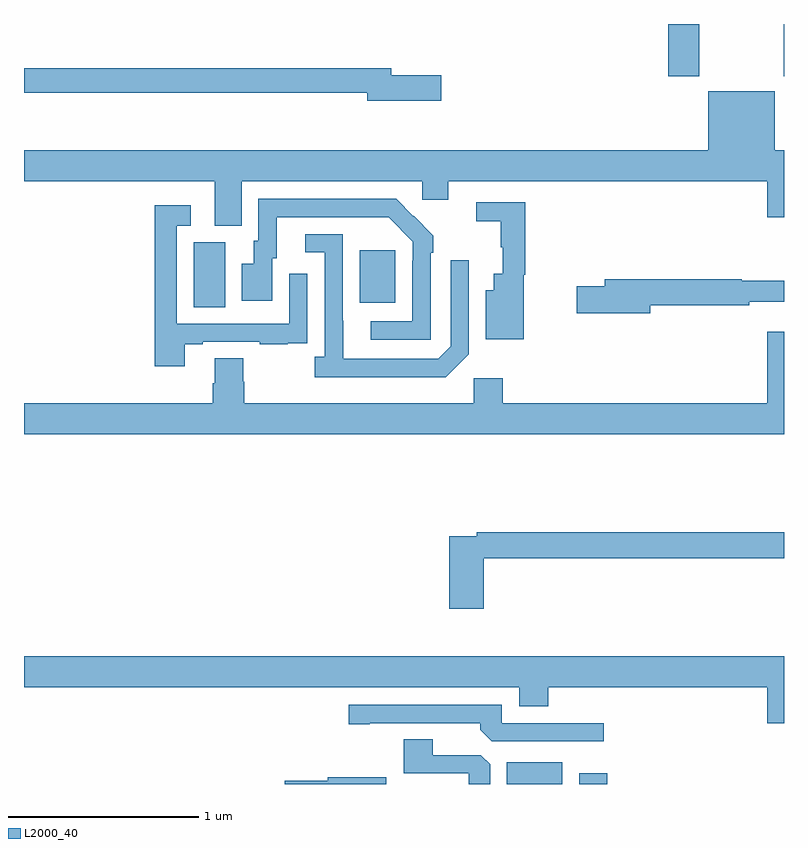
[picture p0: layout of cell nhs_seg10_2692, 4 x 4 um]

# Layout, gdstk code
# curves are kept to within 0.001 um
import gdstk
lib = gdstk.Library(unit=1e-6, precision=1e-09)
def R(c, l, rs):  # rectangles x0, y0, x1, y1
    for r in rs: c.add(gdstk.rectangle(r[:2], r[2:], *l))
def P(c, l, *ps):  # polygons
    for p in ps: c.add(gdstk.Polygon(p, *l))
L2000_40 = (2000, 40)

nhs_seg10_2692 = lib.new_cell('nhs_seg10_2692')
R(nhs_seg10_2692, L2000_40, [(259.541,1274.5,259.834,1274.614), (259.922,1274.5,260.069,1274.557), (257.894,1277.008,258.058,1277.352), (258.767,1277.033,258.955,1277.308), (260.392,1278.225,260.553,1278.5), (260.998,1278.225,261,1278.5)])
P(nhs_seg10_2692, L2000_40, [(259.195,1278.23),(258.934,1278.23),(258.934,1278.266),(257,1278.266),(257,1278.138),(258.806,1278.138),(258.806,1278.095),(259.195,1278.095)],
  [(258.145,1277.672),(259.095,1277.672),(259.095,1277.574),(259.234,1277.574),(259.234,1277.672),(260.912,1277.672),(260.912,1277.484),(261,1277.484),(261,1277.836),(260.95,1277.836),(260.95,1278.145),(260.6,1278.145),(260.6,1277.836),(257,1277.836),(257,1277.672),(258.005,1277.672),(258.005,1277.437),(258.145,1277.437)],
  [(259.14,1277.297),(259.155,1277.297),(259.155,1277.385),(258.958,1277.58),(258.234,1277.58),(258.234,1277.358),(258.209,1277.358),(258.209,1277.239),(258.146,1277.239),(258.146,1277.043),(258.307,1277.043),(258.307,1277.268),(258.331,1277.268),(258.331,1277.484),(258.919,1277.484),(259.047,1277.355),(259.047,1277.255),(259.044,1277.255),(259.044,1276.935),(258.825,1276.935),(258.825,1276.839),(259.14,1276.839)],
  [(259.63,1277.181),(259.637,1277.181),(259.637,1277.562),(259.38,1277.562),(259.38,1277.461),(259.509,1277.461),(259.509,1277.325),(259.52,1277.325),(259.52,1277.185),(259.472,1277.185),(259.472,1277.098),(259.43,1277.098),(259.43,1276.841),(259.63,1276.841)],
  [(257.845,1276.815),(257.941,1276.815),(257.941,1276.827),(258.241,1276.827),(258.241,1276.815),(258.389,1276.815),(258.389,1276.821),(258.491,1276.821),(258.491,1276.93),(258.492,1276.93),(258.492,1277.185),(258.396,1277.185),(258.396,1276.923),(257.805,1276.923),(257.805,1277.439),(257.878,1277.439),(257.878,1277.545),(257.689,1277.545),(257.689,1276.698),(257.845,1276.698)],
  [(259.341,1276.761),(259.341,1277.257),(259.245,1277.257),(259.245,1276.803),(259.179,1276.737),(258.679,1276.737),(258.678,1277.394),(258.48,1277.394),(258.48,1277.298),(258.582,1277.298),(258.582,1276.75),(258.531,1276.75),(258.531,1276.64),(259.22,1276.64)],
  [(260.296,1277.02),(260.816,1277.02),(260.816,1277.039),(261,1277.039),(261,1277.149),(260.778,1277.149),(260.778,1277.156),(260.057,1277.156),(260.057,1277.12),(259.908,1277.12),(259.908,1276.978),(260.296,1276.978)],
  [(261,1276.879),(260.912,1276.879),(260.912,1276.504),(259.52,1276.504),(259.52,1276.636),(259.368,1276.636),(259.368,1276.504),(258.158,1276.504),(258.158,1276.617),(258.153,1276.617),(258.153,1276.742),(258.005,1276.742),(258.005,1276.61),(257.993,1276.61),(257.993,1276.504),(257,1276.504),(257,1276.34),(261,1276.34)],
  [(259.421,1275.688),(261,1275.688),(261,1275.824),(259.384,1275.824),(259.384,1275.804),(259.238,1275.804),(259.238,1275.423),(259.421,1275.423)],
  [(261,1275.172),(257,1275.172),(257,1275.008),(259.607,1275.008),(259.607,1274.909),(259.76,1274.909),(259.76,1275.008),(260.912,1275.008),(260.912,1274.82),(261,1274.82)],
  [(260.05,1274.82),(259.515,1274.82),(259.515,1274.916),(258.708,1274.916),(258.708,1274.815),(258.82,1274.815),(258.82,1274.82),(259.4,1274.82),(259.4,1274.786),(259.461,1274.724),(260.05,1274.724)],
  [(259.453,1274.603),(259.404,1274.652),(259.15,1274.652),(259.15,1274.735),(258.998,1274.735),(258.998,1274.556),(259.341,1274.556),(259.341,1274.5),(259.453,1274.5)],
  [(258.907,1274.536),(258.599,1274.536),(258.599,1274.516),(258.372,1274.516),(258.372,1274.5),(258.907,1274.5)])

lib.write_gds('nhs_seg10_2692.gds')
